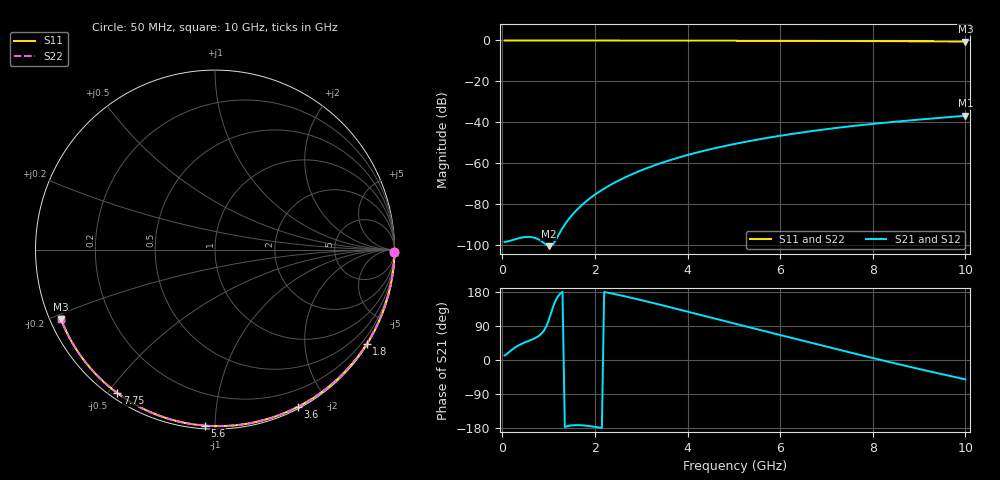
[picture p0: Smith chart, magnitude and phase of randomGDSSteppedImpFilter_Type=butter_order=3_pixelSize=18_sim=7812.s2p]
! freq	dB(S11)	phase(S11)	dB(S12)	phase(S12)
!  dB(S21)	phase(S21)	dB(S22)	phase(S22)
!S-par simulation data
#  GHz  S  DB  R 50
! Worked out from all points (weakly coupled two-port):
!   200 points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, 50 MHz to 10 GHz, reference 50 ohm
!   highest |S21| = -36.76 dB at 10 GHz (marker M1); lowest = -100.5 dB at 1 GHz (marker M2)
!   lowest |S11| = -0.5 dB at 10 GHz (marker M3), VSWR 33.29, Z = 1.57 - j10.7 ohm
!   |S11| at or under -10 dB: nowhere
!   |S22| runs from -0.5 to 0.0 dB; largest |S21 - S12| = 0
!   S11 on the Smith chart (normalised r, x): 50 MHz: open; 1.8 GHz: 0.03, -3.49; 3.6 GHz: 0.02, -1.66; 5.6 GHz: 0.02, -0.94; 7.75 GHz: 0.02, -0.53; 10 GHz: 0.03, -0.21
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0.05  -0.00 -0.9  -98.42 11.9  -98.42 11.9  -0.00 -0.9
0.5  -0.01 -9.0  -96.00 47.1  -96.00 47.1  -0.01 -9.0
1  -0.02 -17.9  -100.48 103.8  -100.48 103.8  -0.02 -17.9
1.7  -0.04 -30.2  -80.75 -172.2  -80.75 -172.2  -0.04 -30.2
1.75  -0.04 -31.1  -79.74 -172.6  -79.74 -172.6  -0.04 -31.1
1.8  -0.04 -32.0  -78.77 -173.1  -78.77 -173.1  -0.04 -32.0
1.95  -0.04 -34.5  -76.12 -175.4  -76.12 -175.4  -0.04 -34.5
2.1  -0.05 -37.1  -73.78 -178.3  -73.78 -178.3  -0.05 -37.1
2.3  -0.05 -40.6  -71.01 177.1  -71.01 177.1  -0.05 -40.6
2.5  -0.06 -44.0  -68.56 172.1  -68.56 172.1  -0.06 -44.0
2.9  -0.07 -50.7  -64.36 161.0  -64.36 161.0  -0.07 -50.7
3.4  -0.08 -59.0  -60.09 146.1  -60.09 146.1  -0.08 -59.0
3.6  -0.08 -62.2  -58.61 140.0  -58.61 140.0  -0.08 -62.2
4.3  -0.10 -73.4  -54.18 118.3  -54.18 118.3  -0.10 -73.4
5.05  -0.13 -85.0  -50.40 95.1  -50.40 95.1  -0.13 -85.0
5.6  -0.15 -93.3  -48.07 78.1  -48.07 78.1  -0.15 -93.3
6.15  -0.18 -101.4  -46.03 61.3  -46.03 61.3  -0.18 -101.4
6.7  -0.21 -109.4  -44.22 44.5  -44.22 44.5  -0.21 -109.4
7.75  -0.29 -124.2  -41.34 12.7  -41.34 12.7  -0.29 -124.2
8.35  -0.34 -132.6  -39.97 -5.1  -39.97 -5.1  -0.34 -132.6
9.2  -0.43 -144.4  -38.27 -29.3  -38.27 -29.3  -0.43 -144.4
10  -0.52 -155.7  -36.76 -51.1  -36.76 -51.1  -0.52 -155.7
